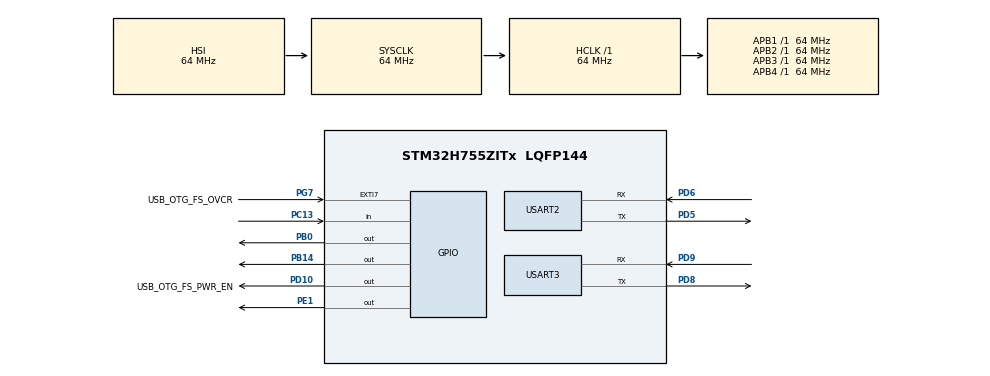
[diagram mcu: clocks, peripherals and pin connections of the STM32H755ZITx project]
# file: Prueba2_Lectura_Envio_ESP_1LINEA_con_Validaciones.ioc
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CortexM4.IPs=FATFS_M4\:I,FREERTOS_M4\:I,IWDG2\:I,RCC,WWDG2\:I,DMA,BDMA,MDMA,NVIC2\:I,ETH,USART3,DEBUG,PDM2PCM_M4\:I,PWR,RESMGR_UTILITY,SYS_M4\:I,USB_DEVICE_M4\:I,USB_HOST_M4\:I,CORTEX_M4\:I,GPIO,OPENAMP_M4\:I,VREFBUF,NUCLEO-H755ZI-Q
CortexM7.IPs=FATFS_M7\:I,FREERTOS_M7\:I,IWDG1\:I,RCC\:I,WWDG1\:I,DMA\:I,BDMA\:I,MDMA\:I,NVIC1\:I,ETH\:I,USART3\:I,USB_OTG_FS\:I,SYS\:I,CORTEX_M7\:I,DEBUG\:I,PDM2PCM_M7\:I,PWR\:I,RESMGR_UTILITY\:I,USB_DEVICE_M7\:I,USB_HOST_M7\:I,GPIO\:I,OPENAMP_M7\:I,VREFBUF\:I,NUCLEO-H755ZI-Q\:I,MEMORYMAP\:I,USART2\:I
Mcu.Family=STM32H7
Mcu.Name=STM32H755ZITx
Mcu.Package=LQFP144
NVIC1.PriorityGroup=NVIC_PRIORITYGROUP_4
NVIC2.PriorityGroup=NVIC_PRIORITYGROUP_4
PA1.PinAttribute=CortexM7
PA1.Signal=ETH_REF_CLK
PA11.PinAttribute=CortexM7
PA11.Signal=USB_OTG_FS_DM
PA12.PinAttribute=CortexM7
PA12.Signal=USB_OTG_FS_DP
PA2.PinAttribute=CortexM7
PA2.Signal=ETH_MDIO
PA7.PinAttribute=CortexM7
PA7.Signal=ETH_CRS_DV
PA8.PinAttribute=CortexM7
PA8.Signal=USB_OTG_FS_SOF
PA9.PinAttribute=CortexM7
PA9.Signal=USB_OTG_FS_VBUS
PB0.PinAttribute=Free
PB0.Signal=GPIO_Output
PB13.PinAttribute=CortexM7
PB13.Signal=ETH_TXD1
PB14.PinAttribute=Free
PB14.Signal=GPIO_Output
PC1.PinAttribute=CortexM7
PC1.Signal=ETH_MDC
PC13.PinAttribute=Free
PC13.Signal=GPIO_Input
PC14-OSC32_IN\ (OSC32_IN).PinAttribute=Free
PC14-OSC32_IN\ (OSC32_IN).Signal=RCC_OSC32_IN
PC15-OSC32_OUT\ (OSC32_OUT).PinAttribute=Free
PC15-OSC32_OUT\ (OSC32_OUT).Signal=RCC_OSC32_OUT
PC4.PinAttribute=CortexM7
PC4.Signal=ETH_RXD0
PC5.PinAttribute=CortexM7
PC5.Signal=ETH_RXD1
PD10.GPIO_Label=USB_OTG_FS_PWR_EN
PD10.PinAttribute=Free
PD10.Signal=GPIO_Output
PD5.Mode=Asynchronous
PD5.PinAttribute=CortexM7
PD5.Signal=USART2_TX
PD6.Mode=Asynchronous
PD6.PinAttribute=CortexM7
PD6.Signal=USART2_RX
PD8.Mode=Asynchronous
PD8.PinAttribute=CortexM7
PD8.Signal=USART3_TX
PD9.Mode=Asynchronous
PD9.PinAttribute=CortexM7
PD9.Signal=USART3_RX
PE1.PinAttribute=Free
PE1.Signal=GPIO_Output
PG11.PinAttribute=CortexM7
PG11.Signal=ETH_TX_EN
PG13.PinAttribute=CortexM7
PG13.Signal=ETH_TXD0
PG7.GPIO_Label=USB_OTG_FS_OVCR
PG7.PinAttribute=Free
PG7.Signal=GPXTI7
PH0-OSC_IN\ (PH0).PinAttribute=Free
PH0-OSC_IN\ (PH0).Signal=RCC_OSC_IN
PH1-OSC_OUT\ (PH1).PinAttribute=Free
PH1-OSC_OUT\ (PH1).Signal=RCC_OSC_OUT
ProjectManager.HeapSize=M4-0x200,M7-0x200
ProjectManager.StackSize=M4-0x400,M7-0x400
ProjectManager.TargetToolchain=STM32CubeIDE
RCC.ADCFreq_Value=129000000
RCC.APB1Freq_Value=64000000
RCC.APB2Freq_Value=64000000
RCC.APB3Freq_Value=64000000
RCC.APB4Freq_Value=64000000
RCC.CortexFreq_Value=64000000
RCC.DIVM1=5
RCC.DIVN1=48
RCC.DIVQ1=5
RCC.HCLKFreq_Value=64000000
RCC.PLL2FRACN=0
RCC.PLL3FRACN=0
RCC.PLLFRACN=0
RCC.SYSCLKFreq_VALUE=64000000
RCC.SupplySource=PWR_DIRECT_SMPS_SUPPLY
RCC.USBFreq_Value=122880000
USART2.VirtualMode-Asynchronous=VM_ASYNC
USART3.VirtualMode-Asynchronous=VM_ASYNC
VP_MEMORYMAP_VS_MEMORYMAP.Mode=CurAppReg
VP_SYS_M4_VS_Systick.Mode=SysTick
board=NUCLEO-H755ZI-Q

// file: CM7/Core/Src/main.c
/* USER CODE BEGIN Header */
/**
  ******************************************************************************
  * @file           : main.c
  * @brief          : Main program body
  ******************************************************************************
  * @attention
  *
  * Copyright (c) 2025 STMicroelectronics.
  * All rights reserved.
  *
  * This software is licensed under terms that can be found in the LICENSE file
  * in the root directory of this software component.
  * If no LICENSE file comes with this software, it is provided AS-IS.
  *
  ******************************************************************************
  */
/* USER CODE END Header */
#include "main.h"

/* USER CODE BEGIN Includes */
#include <string.h>
#include <stdio.h>
#include <stdlib.h>
#include <math.h>
/* USER CODE END Includes */

/* USER CODE BEGIN PTD */

typedef struct {
    int nodo_id;
    float x, y, z;
    float temperatura;
    float humedad;
    int aqi;
    int tvoc;
    float eco2;
    int received;
} NodoData;

NodoData nodos[3] = {0};

uint32_t lastResetTime = 0;   // para timeout
const uint32_t timeoutMs = 1500; // 1.5 seg límite para promedios
char alertaNodo[3][50] = {"", "", ""}; // Guarda la última alerta detectada para cada nodo

void parseNodo(char *msg);
void procesarPromedio(void);
void verificarAlertasComunes(void);
void extractAlertType(char *input, char *output, size_t outputSize);

/* USER CODE END PTD */

/* USER CODE BEGIN PD */

/* DUAL_CORE_BOOT_SYNC_SEQUENCE: Define for dual core boot synchronization    */
/*                             demonstration code based on hardware semaphore */
/* This define is present in both CM7/CM4 projects                            */
/* To comment when developping/debugging on a single core                     */
//#define DUAL_CORE_BOOT_SYNC_SEQUENCE

#if defined(DUAL_CORE_BOOT_SYNC_SEQUENCE)
#ifndef HSEM_ID_0
#define HSEM_ID_0 (0U) /* HW semaphore 0*/
#endif
#endif /* DUAL_CORE_BOOT_SYNC_SEQUENCE */

/* USER CODE END PD */

UART_HandleTypeDef huart2;
UART_HandleTypeDef huart3;

void SystemClock_Config(void);
static void MX_GPIO_Init(void);
static void MX_USART2_UART_Init(void);
static void MX_USART3_UART_Init(void);

int main(void)
{

/* USER CODE BEGIN Boot_Mode_Sequence_0 */
#if defined(DUAL_CORE_BOOT_SYNC_SEQUENCE)
  int32_t timeout;
#endif /* DUAL_CORE_BOOT_SYNC_SEQUENCE */
/* USER CODE END Boot_Mode_Sequence_0 */

/* USER CODE BEGIN Boot_Mode_Sequence_1 */
#if defined(DUAL_CORE_BOOT_SYNC_SEQUENCE)
  /* Wait until CPU2 boots and enters in stop mode or timeout*/
  timeout = 0xFFFF;
  while((__HAL_RCC_GET_FLAG(RCC_FLAG_D2CKRDY) != RESET) && (timeout-- > 0));
  if ( timeout < 0 )
  {
  Error_Handler();
  }
#endif /* DUAL_CORE_BOOT_SYNC_SEQUENCE */
/* USER CODE END Boot_Mode_Sequence_1 */
  /* MCU Configuration--------------------------------------------------------*/

  /* Reset of all peripherals, Initializes the Flash interface and the Systick. */
  HAL_Init();

  /* Configure the system clock */
  SystemClock_Config();
/* USER CODE BEGIN Boot_Mode_Sequence_2 */
#if defined(DUAL_CORE_BOOT_SYNC_SEQUENCE)
/* When system initialization is finished, Cortex-M7 will release Cortex-M4 by means of
HSEM notification */
/*HW semaphore Clock enable*/
__HAL_RCC_HSEM_CLK_ENABLE();
/*Take HSEM */
HAL_HSEM_FastTake(HSEM_ID_0);
/*Release HSEM in order to notify the CPU2(CM4)*/
HAL_HSEM_Release(HSEM_ID_0,0);
/* wait until CPU2 wakes up from stop mode */
timeout = 0xFFFF;
while((__HAL_RCC_GET_FLAG(RCC_FLAG_D2CKRDY) == RESET) && (timeout-- > 0));
if ( timeout < 0 )
{
Error_Handler();
}
#endif /* DUAL_CORE_BOOT_SYNC_SEQUENCE */
/* USER CODE END Boot_Mode_Sequence_2 */

  /* Initialize all configured peripherals */
  MX_GPIO_Init();
  MX_USART2_UART_Init();
  MX_USART3_UART_Init();

  /* Infinite loop */
  /* USER CODE BEGIN WHILE */
  while (1)
  {
	  static uint8_t buffer[300];
	  static uint16_t idx = 0;
	  uint8_t byte;

	  if (HAL_UART_Receive(&huart2, &byte, 1, 100) == HAL_OK)
	  {
		  buffer[idx++] = byte;

		  if (byte == '\n')
		  {
			  buffer[idx] = '\0'; // convertir en string

			  // 1️⃣ Mostrar lo recibido
//			  HAL_UART_Transmit(&huart3, buffer, idx, 1000);
//			  HAL_UART_Transmit(&huart3, (uint8_t*)"\r\n", 2, 100);

			  // 2️⃣ Procesar el nodo
			  parseNodo((char*)buffer);

			  // reiniciar buffer
			  idx = 0;
			  memset(buffer, 0, sizeof(buffer));

			  // 3️⃣ Intentar sacar promedios
			  procesarPromedio();
		  }
	  }
    /* USER CODE END WHILE */

  }
}

void SystemClock_Config(void)
{
  RCC_OscInitTypeDef RCC_OscInitStruct = {0};
  RCC_ClkInitTypeDef RCC_ClkInitStruct = {0};

  /** Supply configuration update enable
  */
  HAL_PWREx_ConfigSupply(PWR_DIRECT_SMPS_SUPPLY);

  /** Configure the main internal regulator output voltage
  */
  __HAL_PWR_VOLTAGESCALING_CONFIG(PWR_REGULATOR_VOLTAGE_SCALE3);

  while(!__HAL_PWR_GET_FLAG(PWR_FLAG_VOSRDY)) {}

  /** Initializes the RCC Oscillators according to the specified parameters
  * in the RCC_OscInitTypeDef structure.
  */
  RCC_OscInitStruct.OscillatorType = RCC_OSCILLATORTYPE_HSI;
  RCC_OscInitStruct.HSIState = RCC_HSI_DIV1;
  RCC_OscInitStruct.HSICalibrationValue = RCC_HSICALIBRATION_DEFAULT;
  RCC_OscInitStruct.PLL.PLLState = RCC_PLL_NONE;
  if (HAL_RCC_OscConfig(&RCC_OscInitStruct) != HAL_OK)
  {
    Error_Handler();
  }

  /** Initializes the CPU, AHB and APB buses clocks
  */
  RCC_ClkInitStruct.ClockType = RCC_CLOCKTYPE_HCLK|RCC_CLOCKTYPE_SYSCLK
                              |RCC_CLOCKTYPE_PCLK1|RCC_CLOCKTYPE_PCLK2
                              |RCC_CLOCKTYPE_D3PCLK1|RCC_CLOCKTYPE_D1PCLK1;
  RCC_ClkInitStruct.SYSCLKSource = RCC_SYSCLKSOURCE_HSI;
  RCC_ClkInitStruct.SYSCLKDivider = RCC_SYSCLK_DIV1;
  RCC_ClkInitStruct.AHBCLKDivider = RCC_HCLK_DIV1;
  RCC_ClkInitStruct.APB3CLKDivider = RCC_APB3_DIV1;
  RCC_ClkInitStruct.APB1CLKDivider = RCC_APB1_DIV1;
  RCC_ClkInitStruct.APB2CLKDivider = RCC_APB2_DIV1;
  RCC_ClkInitStruct.APB4CLKDivider = RCC_APB4_DIV1;

  if (HAL_RCC_ClockConfig(&RCC_ClkInitStruct, FLASH_LATENCY_1) != HAL_OK)
  {
    Error_Handler();
  }
}

static void MX_USART2_UART_Init(void)
{

  huart2.Instance = USART2;
  huart2.Init.BaudRate = 115200;
  huart2.Init.WordLength = UART_WORDLENGTH_8B;
  huart2.Init.StopBits = UART_STOPBITS_1;
  huart2.Init.Parity = UART_PARITY_NONE;
  huart2.Init.Mode = UART_MODE_TX_RX;
  huart2.Init.HwFlowCtl = UART_HWCONTROL_NONE;
  huart2.Init.OverSampling = UART_OVERSAMPLING_16;
  huart2.Init.OneBitSampling = UART_ONE_BIT_SAMPLE_DISABLE;
  huart2.Init.ClockPrescaler = UART_PRESCALER_DIV1;
  huart2.AdvancedInit.AdvFeatureInit = UART_ADVFEATURE_NO_INIT;
  if (HAL_UART_Init(&huart2) != HAL_OK)
  {
    Error_Handler();
  }
  if (HAL_UARTEx_SetTxFifoThreshold(&huart2, UART_TXFIFO_THRESHOLD_1_8) != HAL_OK)
  {
    Error_Handler();
  }
  if (HAL_UARTEx_SetRxFifoThreshold(&huart2, UART_RXFIFO_THRESHOLD_1_8) != HAL_OK)
  {
    Error_Handler();
  }
  if (HAL_UARTEx_DisableFifoMode(&huart2) != HAL_OK)
  {
    Error_Handler();
  }

}

static void MX_USART3_UART_Init(void)
{

  huart3.Instance = USART3;
  huart3.Init.BaudRate = 115200;
  huart3.Init.WordLength = UART_WORDLENGTH_8B;
  huart3.Init.StopBits = UART_STOPBITS_1;
  huart3.Init.Parity = UART_PARITY_NONE;
  huart3.Init.Mode = UART_MODE_TX_RX;
  huart3.Init.HwFlowCtl = UART_HWCONTROL_NONE;
  huart3.Init.OverSampling = UART_OVERSAMPLING_16;
  huart3.Init.OneBitSampling = UART_ONE_BIT_SAMPLE_DISABLE;
  huart3.Init.ClockPrescaler = UART_PRESCALER_DIV1;
  huart3.AdvancedInit.AdvFeatureInit = UART_ADVFEATURE_NO_INIT;
  if (HAL_UART_Init(&huart3) != HAL_OK)
  {
    Error_Handler();
  }
  if (HAL_UARTEx_SetTxFifoThreshold(&huart3, UART_TXFIFO_THRESHOLD_1_8) != HAL_OK)
  {
    Error_Handler();
  }
  if (HAL_UARTEx_SetRxFifoThreshold(&huart3, UART_RXFIFO_THRESHOLD_1_8) != HAL_OK)
  {
    Error_Handler();
  }
  if (HAL_UARTEx_DisableFifoMode(&huart3) != HAL_OK)
  {
    Error_Handler();
  }

}

static void MX_GPIO_Init(void)
{
  GPIO_InitTypeDef GPIO_InitStruct = {0};

  /* GPIO Ports Clock Enable */
  __HAL_RCC_GPIOC_CLK_ENABLE();
  __HAL_RCC_GPIOA_CLK_ENABLE();
  __HAL_RCC_GPIOB_CLK_ENABLE();
  __HAL_RCC_GPIOD_CLK_ENABLE();
  __HAL_RCC_GPIOG_CLK_ENABLE();

  /*Configure GPIO pins : PC1 PC4 PC5 */
  GPIO_InitStruct.Pin = GPIO_PIN_1|GPIO_PIN_4|GPIO_PIN_5;
  GPIO_InitStruct.Mode = GPIO_MODE_AF_PP;
  GPIO_InitStruct.Pull = GPIO_NOPULL;
  GPIO_InitStruct.Speed = GPIO_SPEED_FREQ_LOW;
  GPIO_InitStruct.Alternate = GPIO_AF11_ETH;
  HAL_GPIO_Init(GPIOC, &GPIO_InitStruct);

  /*Configure GPIO pins : PA1 PA2 PA7 */
  GPIO_InitStruct.Pin = GPIO_PIN_1|GPIO_PIN_2|GPIO_PIN_7;
  GPIO_InitStruct.Mode = GPIO_MODE_AF_PP;
  GPIO_InitStruct.Pull = GPIO_NOPULL;
  GPIO_InitStruct.Speed = GPIO_SPEED_FREQ_LOW;
  GPIO_InitStruct.Alternate = GPIO_AF11_ETH;
  HAL_GPIO_Init(GPIOA, &GPIO_InitStruct);

  /*Configure GPIO pin : PB13 */
  GPIO_InitStruct.Pin = GPIO_PIN_13;
  GPIO_InitStruct.Mode = GPIO_MODE_AF_PP;
  GPIO_InitStruct.Pull = GPIO_NOPULL;
  GPIO_InitStruct.Speed = GPIO_SPEED_FREQ_LOW;
  GPIO_InitStruct.Alternate = GPIO_AF11_ETH;
  HAL_GPIO_Init(GPIOB, &GPIO_InitStruct);

  /*Configure GPIO pins : PA8 PA11 PA12 */
  GPIO_InitStruct.Pin = GPIO_PIN_8|GPIO_PIN_11|GPIO_PIN_12;
  GPIO_InitStruct.Mode = GPIO_MODE_AF_PP;
  GPIO_InitStruct.Pull = GPIO_NOPULL;
  GPIO_InitStruct.Speed = GPIO_SPEED_FREQ_LOW;
  GPIO_InitStruct.Alternate = GPIO_AF10_OTG1_FS;
  HAL_GPIO_Init(GPIOA, &GPIO_InitStruct);

  /*Configure GPIO pins : PG11 PG13 */
  GPIO_InitStruct.Pin = GPIO_PIN_11|GPIO_PIN_13;
  GPIO_InitStruct.Mode = GPIO_MODE_AF_PP;
  GPIO_InitStruct.Pull = GPIO_NOPULL;
  GPIO_InitStruct.Speed = GPIO_SPEED_FREQ_LOW;
  GPIO_InitStruct.Alternate = GPIO_AF11_ETH;
  HAL_GPIO_Init(GPIOG, &GPIO_InitStruct);

}

/* USER CODE BEGIN 4 */

void procesarPromedio(void) {

    uint32_t ahora = HAL_GetTick();

    int countXY = 0;
    int countEco2 = 0;

    float sumXY = 0;
    float sumEco2 = 0;

    for (int i = 0; i < 3; i++) {
        if (nodos[i].received) {
            float mag = sqrtf(nodos[i].x * nodos[i].x + nodos[i].y * nodos[i].y);
            sumXY += mag;
            sumEco2 += nodos[i].eco2;

            countXY++;
            countEco2++;
        }
    }

    // si no se recibió nada
    if (countXY == 0) {
//     	HAL_UART_Transmit(&huart3, (uint8_t*)"⚠ No se recibieron nodos\n", 28, 100);
        return;
    }

    // si ya pasaron 1500 ms → enviar promedios aunque falten nodos
    if (ahora - lastResetTime > timeoutMs) {

        float avgXY = sumXY / countXY;
        float avgEco2 = sumEco2 / countEco2;

        // Imprimir cada nodo recibido con sus valores reales
        for (int i = 0; i < 3; i++) {
            if (nodos[i].received) {
                char out[300];
                sprintf(out,
                        "[ESP_NODO_%d]X:%.2f;Y:%.2f;Z:%.2f;Temp:%.2f;Hum:%.2f;AQI:%d;TVOC:%d;eCO2:%.2f;PromXY:%.2f;PromECO2:%.2f\n\r",
                        nodos[i].nodo_id,
                        nodos[i].x,
                        nodos[i].y,
                        nodos[i].z,
                        nodos[i].temperatura,
                        nodos[i].humedad,
                        nodos[i].aqi,
                        nodos[i].tvoc,
                        nodos[i].eco2,
                        avgXY,
                        avgEco2);

                HAL_UART_Transmit(&huart3, (uint8_t*)out, strlen(out), 100);
                HAL_UART_Transmit(&huart2, (uint8_t*)out, strlen(out), 100);
            }
        }

        // reiniciar
        for (int i = 0; i < 3; i++) nodos[i].received = 0;
        lastResetTime = ahora;
    }
}

void parseNodo(char *msg) {

    int nodoID = -1;
    char alertMsgBuffer[200]; // Buffer para la alerta

    if (strstr(msg, "[GENERAL]") != NULL) { //Alerta general

            char *pAlert = strstr(msg, "ALERT:");
            if (pAlert != NULL) {

                char *startMsg = pAlert + strlen("ALERT:");

                sprintf(alertMsgBuffer, "ALERTA_GENERAL:%s\n\r", startMsg);

                HAL_UART_Transmit(&huart3, (uint8_t*)alertMsgBuffer, strlen(alertMsgBuffer), 100);
                HAL_UART_Transmit(&huart2, (uint8_t*)alertMsgBuffer, strlen(alertMsgBuffer), 100);
            }

            return; // NO PROCESAR COMO NODO
    }

    if (strstr(msg, "[ESP_NODO_1]")) nodoID = 0;
    else if (strstr(msg, "[ESP_NODO_2]")) nodoID = 1;
    else if (strstr(msg, "[ESP_NODO_3]")) nodoID = 2;
    else return; // no coincide con ningún nodo

    char *pAlert = strstr(msg, "ALERT:");
	if (pAlert != NULL) {
		// Encontró el patrón ALERT:

		// Buscar el inicio del mensaje de alerta (después de "ALERT:")
		char *startMsg = pAlert + strlen("ALERT:");

		snprintf(alertaNodo[nodoID], 50, "%s", startMsg);// Guardar la alerta por nodo

		sprintf(alertMsgBuffer, "ALERTA NODO %d: %s\n\r", nodoID + 1, startMsg);

		// Enviar la alerta a la Consola (huart3)
		HAL_UART_Transmit(&huart3, (uint8_t*)alertMsgBuffer, strlen(alertMsgBuffer), 100);
		HAL_UART_Transmit(&huart2, (uint8_t*)alertMsgBuffer, strlen(alertMsgBuffer), 100);

		verificarAlertasComunes();
		return;
	}

    nodos[nodoID].nodo_id = nodoID + 1; // guardar número de nodo (1, 2 o 3)

    char *pX = strstr(msg, "X:");
    if (pX) nodos[nodoID].x = atof(pX + 2);

    char *pY = strstr(msg, "Y:");
    if (pY) nodos[nodoID].y = atof(pY + 2);

    char *pZ = strstr(msg, "Z:");
    if (pZ) nodos[nodoID].z = atof(pZ + 2);

    char *pT = strstr(msg, "Temp:");
    if (pT) nodos[nodoID].temperatura = atof(pT + 5);

    char *pH = strstr(msg, "Hum:");
    if (pH) nodos[nodoID].humedad = atof(pH + 4);

    char *pA = strstr(msg, "AQI:");
    if (pA) nodos[nodoID].aqi = atoi(pA + 4);

    char *pTV = strstr(msg, "TVOC:");
    if (pTV) nodos[nodoID].tvoc = atoi(pTV + 5);

    char *pE = strstr(msg, "eCO2:");
    if (pE) nodos[nodoID].eco2 = atof(pE + 5);

    nodos[nodoID].received = 1;
}

void extractAlertType(char *input, char *output, size_t outputSize) {
    char *parenPos = strchr(input, '(');

    if (parenPos != NULL) {
        // Hay paréntesis → copiar solo hasta antes del paréntesis
        size_t len = parenPos - input;

        // Limitar al tamaño del buffer de salida
        if (len >= outputSize) len = outputSize - 1;

        strncpy(output, input, len);
        output[len] = '\0';

        // Eliminar espacios al final
        while (len > 0 && output[len-1] == ' ') {
            output[--len] = '\0';
        }
    } else {
        // No hay paréntesis → copiar todo
        strncpy(output, input, outputSize - 1);
        output[outputSize - 1] = '\0';
    }
}

void verificarAlertasComunes(void) {

    // Validar si las 3 contienen algo
    if (strlen(alertaNodo[0]) == 0 ||
        strlen(alertaNodo[1]) == 0 ||
        strlen(alertaNodo[2]) == 0)
        return; // falta una alerta

    // 🔥 NUEVO: Extraer TIPOS de alerta (sin valores numéricos)
    char tipo1[50], tipo2[50], tipo3[50];
    extractAlertType(alertaNodo[0], tipo1, sizeof(tipo1));
    extractAlertType(alertaNodo[1], tipo2, sizeof(tipo2));
    extractAlertType(alertaNodo[2], tipo3, sizeof(tipo3));

    // Si los 3 TIPOS son iguales → alerta común
    if (strcmp(tipo1, tipo2) == 0 && strcmp(tipo2, tipo3) == 0)
    {
        char buffer[200];
        snprintf(buffer, sizeof(buffer),
                 "ALERTA COMÚN: %s\n\r",
                 tipo1); // Usar el tipo sin valores

        HAL_UART_Transmit(&huart3, (uint8_t*)buffer, strlen(buffer), 100);
        HAL_UART_Transmit(&huart2, (uint8_t*)buffer, strlen(buffer), 100);

        // limpiar alertas para evitar repetición
        alertaNodo[0][0] = '\0';
        alertaNodo[1][0] = '\0';
        alertaNodo[2][0] = '\0';
    }
}

/* USER CODE END 4 */

void Error_Handler(void)
{
  __disable_irq();
  while (1)
  {
  }
}
